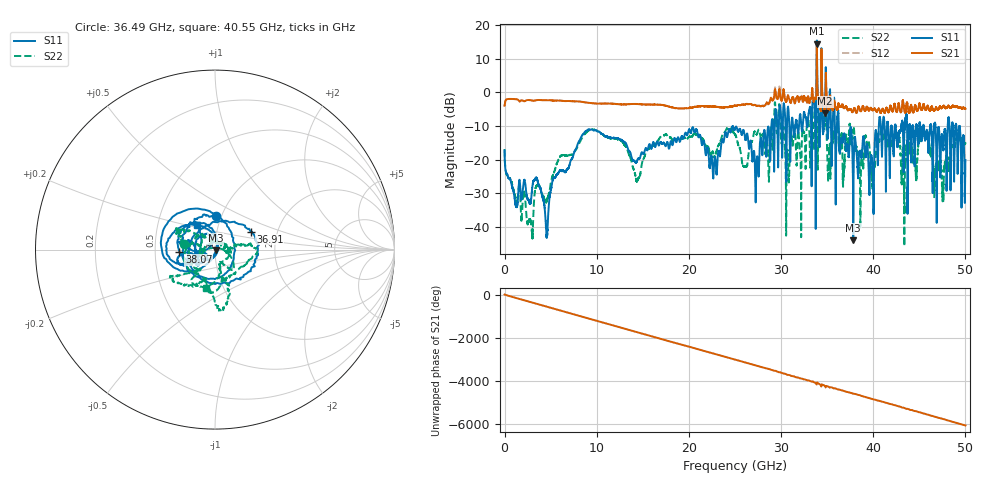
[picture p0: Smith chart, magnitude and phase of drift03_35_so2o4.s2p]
!Created with skrf (http://scikit-rf.org).
# Hz S RI R 50.0
!freq ReS11 ImS11 ReS21 ImS21 ReS12 ImS12 ReS22 ImS22
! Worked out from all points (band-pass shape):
!   10001 points, 300 kHz to 50 GHz, reference 50 ohm
!   highest |S21| = 14.37 dB at 33.88 GHz (marker M1); lowest = -6.2 dB at 34.79 GHz (marker M2)
!   |S21| within 3 dB of the highest: 33.86949 GHz to 33.88855 GHz (19.07 MHz wide, 0.0563 % of centre); 34.37719 GHz to 34.38951 GHz (12.32 MHz wide, 0.0358 % of centre)
!   lowest |S11| = -43.9 dB at 37.83 GHz (marker M3), VSWR 1.01, Z = 50.5 - j0.439 ohm
!   |S11| at or under -10 dB: start of sweep to 28.94 GHz; 36.27 GHz to 40.61 GHz (4.341 GHz wide, 11.3 % of centre); 46.74 GHz to 48.08 GHz (1.341 GHz wide, 2.83 % of centre) (the widest 3 of 64)
!   |S22| runs from -45.7 to 11.1 dB; largest |S21 - S12| = 0.81
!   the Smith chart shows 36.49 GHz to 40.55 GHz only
!   S11 on the Smith chart (normalised r, x): 36.49 GHz: 0.94, +0.37; 36.91 GHz: 1.46, +0.31; 38.07 GHz: 0.67, -0.02; 40.55 GHz: 0.79, +0.23
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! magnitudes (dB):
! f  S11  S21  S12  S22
! 300 kHz  -17.3  -4.0  -4.0  -16.9
! 2.825 GHz  -32.6  -2.4  -2.4  -38.4
! 4.56 GHz  -42.8  -2.3  -2.3  -32.2
! 8.335 GHz  -13.1  -2.8  -2.8  -13.9
! 14.43 GHz  -20.0  -3.5  -3.5  -26.2
! 16.67 GHz  -15.4  -3.7  -3.7  -14.3
! 22.82 GHz  -19.2  -4.3  -4.3  -19.2
! 25 GHz  -10.9  -4.0  -4.0  -12.5
! 27.39 GHz  -19.4  -4.1  -4.1  -12.4
! 29.6 GHz  -10.4  -2.0  -2.1  -11.7
! 30.7 GHz  -5.5  -1.4  -1.4  -17.1
! 33.34 GHz  -14.0  -0.4  -0.5  -7.1
! 33.88 GHz  15.4  14.4  14.1  10.9
! 34.79 GHz  -3.1  -6.2  -4.9  -8.6
! 36.49 GHz  -14.5  -4.3  -4.3  -15.2
! 36.91 GHz  -13.1  -4.5  -4.5  -19.0
! 37.83 GHz  -43.9  -5.5  -5.5  -11.1
! 38.07 GHz  -14.1  -5.4  -5.4  -17.3
! 40.55 GHz  -15.3  -5.0  -5.0  -13.0
! 41.67 GHz  -12.2  -6.0  -5.9  -15.3
! 47.57 GHz  -15.9  -4.4  -4.3  -30.7
! 50 GHz  -20.1  -4.9  -4.9  -15.1
